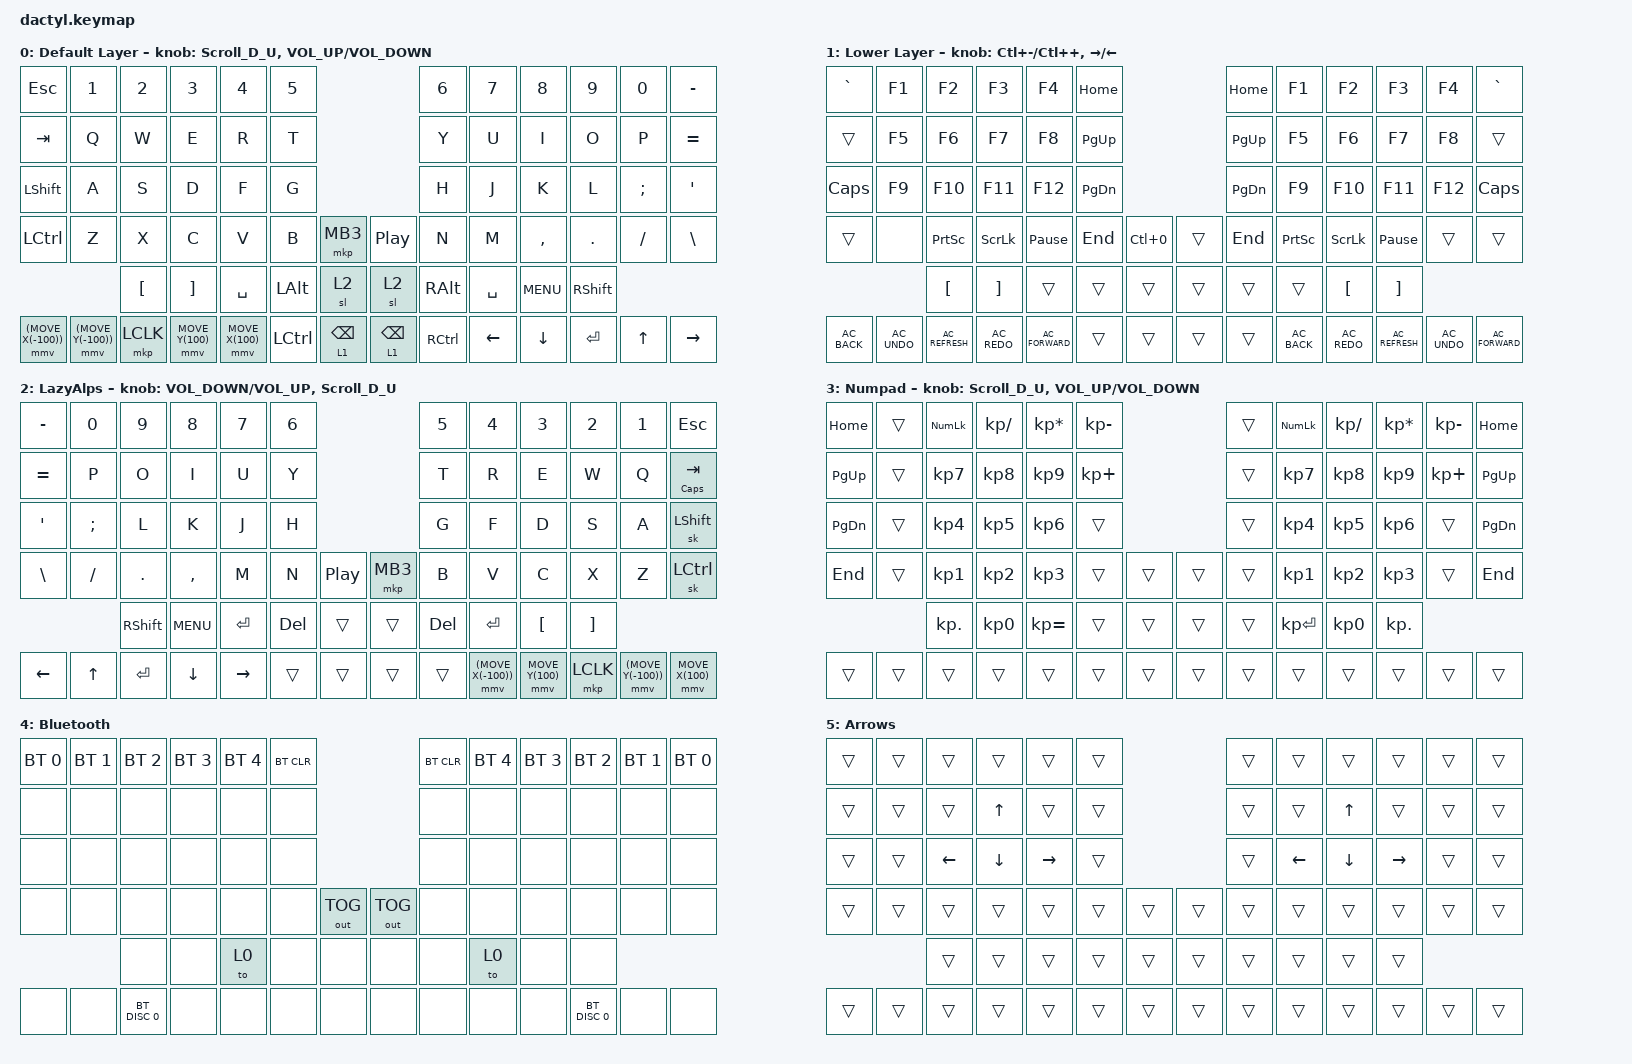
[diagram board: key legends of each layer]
/*
 * Copyright (c) 2020 The ZMK Contributors
 *
 * SPDX-License-Identifier: MIT
 */

#include <input/processors.dtsi>
#include <zephyr/dt-bindings/input/input-event-codes.h>
#include <dt-bindings/zmk/mouse.h>
#include <behaviors/mouse_keys.dtsi>
#include <behaviors.dtsi>
#include <dt-bindings/zmk/bt.h>
#include <dt-bindings/zmk/keys.h>
#include <dt-bindings/zmk/outputs.h>
#include <dt-bindings/zmk/pointing.h>

#define ZMK_POINTING_DEFAULT_MOVE_VAL 1200  // 600
#define ZMK_POINTING_DEFAULT_SCRL_VAL 900   // mousescroll SPEED

&mmv_input_listener { input-processors = <&zip_xy_scaler 2 1>; };

&msc_input_listener { input-processors = <&zip_scroll_scaler 2 1>; };

&msc {
    acceleration-exponent = <1>;      // 0
    time-to-max-speed-ms = <100>;       // 300
    delay-ms = <0>;                   // 0
};

&mmv {
    time-to-max-speed-ms = <500>;
    acceleration-exponent = <1>;
    trigger-period-ms = <16>;
};

&soft_off {
    hold-time-ms = <3000>; // Only turn off it the key is held for 3 seconds or longer.
};

&mt {
    tapping-term-ms = <300>;
    flavor = "tap-preferred";
};

&lt { tapping-term-ms = <300>; };

/ {
    behaviors {
        Scroll_D_U: Scroll_D_U {
            compatible = "zmk,behavior-sensor-rotate";
            label = "SCROLL_D_U";
            #sensor-binding-cells = <0>;
            bindings = <&msc SCRL_DOWN>, <&msc SCRL_UP>;

            tap-ms = <20>;
        };

        TD01: TD01 {
            compatible = "zmk,behavior-tap-dance";
            label = "TD01";
            #binding-cells = <0>;
            bindings = <&kp MINUS>, <&kp PERIOD>;
        };

        Scroll_U_D: Scroll_U_D {
            compatible = "zmk,behavior-sensor-rotate";
            label = "SCROLL_U_D";
            #sensor-binding-cells = <0>;
            bindings = <&msc SCRL_UP>, <&msc SCRL_DOWN>;

            tap-ms = <20>;
        };

        Scroll_LR: Scroll_LR {
            compatible = "zmk,behavior-sensor-rotate";
            label = "SCROLL_LR";
            #sensor-binding-cells = <0>;
            bindings = <&msc SCRL_LEFT>, <&msc SCRL_RIGHT>;

            tap-ms = <20>;
        };

        Scroll_RL: Scroll_RL {
            compatible = "zmk,behavior-sensor-rotate";
            label = "SCROLL_RL";
            #sensor-binding-cells = <0>;
            bindings = <&msc SCRL_RIGHT>, <&msc SCRL_LEFT>;

            tap-ms = <20>;
        };
    };

    combos {
        compatible = "zmk,combos";

        boot {
            bindings = <&bootloader>;
            key-positions = <33 32 30>;
        };

        boot2 {
            bindings = <&bootloader>;
            key-positions = <30 32 33>;
        };

        Numpad {
            bindings = <&tog 3>;
            key-positions = <54 66>;
        };

        LWin {
            bindings = <&kp LWIN>;
            key-positions = <50 51>;
        };

        RWin {
            bindings = <&kp RWIN>;
            key-positions = <58 59>;
        };

        PairBT {
            bindings = <&to 4>;
            key-positions = <53 65 54 66>;
        };

        MainBT {
            bindings = <&bt BT_SEL 0>;
            key-positions = <42 0>;
        };

        BT1 {
            bindings = <&bt BT_SEL 1>;
            key-positions = <42 1>;
        };

        BT2 {
            bindings = <&bt BT_SEL 2>;
            key-positions = <42 2>;
        };

        BT3 {
            bindings = <&bt BT_SEL 3>;
            key-positions = <42 3>;
        };

        BT4 {
            bindings = <&bt BT_SEL 4>;
            key-positions = <42 4>;
        };

        ClrAllBT {
            bindings = <&bt BT_CLR_ALL>;
            key-positions = <62 42>;
            layers = <4>;
        };

        Arrows {
            bindings = <&lt 5 LEFT_WIN>;
            key-positions = <65 66>;
            layers = <0>;
        };

        LStudio {
            bindings = <&studio_unlock>;
            key-positions = <50 51>;
            layers = <4>;
        };

        RStudio {
            bindings = <&studio_unlock>;
            key-positions = <58 59>;
            layers = <4>;
        };

        RArrows {
            bindings = <&lt 5 LEFT_WIN>;
            key-positions = <68 67>;
            layers = <0>;
        };

        RNumpad {
            bindings = <&tog 3>;
            key-positions = <55 67>;
        };

        RPairBT {
            bindings = <&to 4>;
            key-positions = <55 56 68 67>;
        };

        RMainBT {
            bindings = <&bt BT_SEL 0>;
            key-positions = <43 11>;
        };

        RBT1 {
            bindings = <&bt BT_SEL 1>;
            key-positions = <43 10>;
        };

        RBT2 {
            bindings = <&bt BT_SEL 2>;
            key-positions = <43 9>;
        };

        RBT3 {
            bindings = <&bt BT_SEL 3>;
            key-positions = <43 8>;
        };

        RBT4 {
            bindings = <&bt BT_SEL 4>;
            key-positions = <43 7>;
        };

        RClrAllBT {
            bindings = <&bt BT_CLR_ALL>;
            key-positions = <71 43>;
            layers = <4>;
        };
    };

    keymap {
        compatible = "zmk,keymap";

        SIXDOO {
            display-name = "Default Layer";
            bindings = <
&kp ESCAPE           &kp NUMBER_1         &kp NUMBER_2      &kp NUMBER_3       &kp NUMBER_4      &kp NUMBER_5                                         &kp NUMBER_6   &kp NUMBER_7  &kp NUMBER_8  &kp NUMBER_9     &kp NUMBER_0  &kp MINUS
&kp TAB              &kp Q                &kp W             &kp E              &kp R             &kp T                                                &kp Y          &kp U         &kp I         &kp O            &kp P         &kp EQUAL
&kp LEFT_SHIFT       &kp A                &kp S             &kp D              &kp F             &kp G                                                &kp H          &kp J         &kp K         &kp L            &kp SEMI      &kp SQT
&kp LCTRL            &kp Z                &kp X             &kp C              &kp V             &kp B             &mkp MB3         &kp C_PLAY_PAUSE  &kp N          &kp M         &kp COMMA     &kp DOT          &kp FSLH      &kp BSLH
                                          &kp LEFT_BRACKET  &kp RIGHT_BRACKET  &kp SPACE         &kp LALT          &sl 2            &sl 2             &kp RIGHT_ALT  &kp SPACE     &kp K_MENU    &kp RIGHT_SHIFT
&mmv (MOVE_X(-100))  &mmv (MOVE_Y(-100))  &mkp LCLK         &mmv MOVE_Y(100)   &mmv MOVE_X(100)  &kp LEFT_CONTROL  &lt 1 BACKSPACE  &lt 1 BACKSPACE   &kp RCTRL      &kp LEFT      &kp DOWN      &kp RET          &kp UP        &kp RIGHT
            >;

            sensor-bindings =
                <&Scroll_D_U>,
                <&inc_dec_kp C_VOLUME_UP C_VOLUME_DOWN>;

            label = "2THM8N";
        };

        Functions {
            display-name = "Lower Layer";
            bindings = <
&kp GRAVE      &kp F1         &kp F2            &kp F3             &kp F4            &kp HOME                           &kp HOME       &kp F1           &kp F2            &kp F3             &kp F4         &kp GRAVE
&trans         &kp F5         &kp F6            &kp F7             &kp F8            &kp PAGE_UP                        &kp PAGE_UP    &kp F5           &kp F6            &kp F7             &kp F8         &trans
&kp CAPSLOCK   &kp F9         &kp F10           &kp F11            &kp F12           &kp PAGE_DOWN                      &kp PAGE_DOWN  &kp F9           &kp F10           &kp F11            &kp F12        &kp CAPSLOCK
&trans         &none          &kp PRINTSCREEN   &kp SCROLLLOCK     &kp PAUSE_BREAK   &kp END        &kp LC(N0)  &trans  &kp END        &kp PRINTSCREEN  &kp SCROLLLOCK    &kp PAUSE_BREAK    &trans         &trans
                              &kp LEFT_BRACKET  &kp RIGHT_BRACKET  &trans            &trans         &trans      &trans  &trans         &trans           &kp LEFT_BRACKET  &kp RIGHT_BRACKET
&kp C_AC_BACK  &kp C_AC_UNDO  &kp C_AC_REFRESH  &kp C_AC_REDO      &kp C_AC_FORWARD  &trans         &trans      &trans  &trans         &kp C_AC_BACK    &kp C_AC_REDO     &kp C_AC_REFRESH   &kp C_AC_UNDO  &kp C_AC_FORWARD
            >;

            sensor-bindings =
                <&inc_dec_kp LC(MINUS) LC(PLUS)>,
                <&inc_dec_kp RIGHT LEFT>;

            label = "Func";
        };

        LazyAlps {
            display-name = "LazyAlps";
            bindings = <
&kp MINUS       &kp NUMBER_0  &kp NUMBER_9  &kp NUMBER_8    &kp NUMBER_7     &kp NUMBER_6                              &kp NUMBER_5  &kp NUMBER_4         &kp NUMBER_3      &kp NUMBER_2       &kp NUMBER_1         &kp ESCAPE
&kp EQUAL       &kp P         &kp O         &kp I           &kp U            &kp Y                                     &kp T         &kp R                &kp E             &kp W              &kp Q                &mt CAPSLOCK TAB
&kp APOS        &kp SEMI      &kp L         &kp K           &kp J            &kp H                                     &kp G         &kp F                &kp D             &kp S              &kp A                &sk LEFT_SHIFT
&kp BSLH        &kp FSLH      &kp DOT       &kp COMMA       &kp M            &kp N         &kp C_PLAY_PAUSE  &mkp MB3  &kp B         &kp V                &kp C             &kp X              &kp Z                &sk LCTRL
                              &kp RSHFT     &kp K_MENU      &kp ENTER        &kp DELETE    &trans            &trans    &kp DELETE    &kp ENTER            &kp LEFT_BRACKET  &kp RIGHT_BRACKET
&kp LEFT_ARROW  &kp UP_ARROW  &kp ENTER     &kp DOWN_ARROW  &kp RIGHT_ARROW  &trans        &trans            &trans    &trans        &mmv (MOVE_X(-100))  &mmv MOVE_Y(100)  &mkp LCLK          &mmv (MOVE_Y(-100))  &mmv MOVE_X(100)
            >;

            sensor-bindings =
                <&inc_dec_kp C_VOLUME_DOWN C_VOLUME_UP>,
                <&Scroll_D_U>;

            label = "LazyAlps";
        };

        Numpad {
            bindings = <
&kp HOME       &trans  &kp KP_NUMLOCK   &kp KP_SLASH     &kp KP_MULTIPLY  &kp KP_MINUS                  &trans  &kp KP_NUMLOCK   &kp KP_SLASH     &kp KP_ASTERISK  &kp KP_MINUS  &kp HOME
&kp PAGE_UP    &trans  &kp KP_NUMBER_7  &kp KP_NUMBER_8  &kp KP_NUMBER_9  &kp KP_PLUS                   &trans  &kp KP_NUMBER_7  &kp KP_NUMBER_8  &kp KP_NUMBER_9  &kp KP_PLUS   &kp PAGE_UP
&kp PAGE_DOWN  &trans  &kp KP_NUMBER_4  &kp KP_NUMBER_5  &kp KP_NUMBER_6  &trans                        &trans  &kp KP_NUMBER_4  &kp KP_NUMBER_5  &kp KP_NUMBER_6  &trans        &kp PAGE_DOWN
&kp END        &trans  &kp KP_NUMBER_1  &kp KP_NUMBER_2  &kp KP_NUMBER_3  &trans        &trans  &trans  &trans  &kp KP_NUMBER_1  &kp KP_NUMBER_2  &kp KP_NUMBER_3  &trans        &kp END
                       &kp KP_DOT       &kp KP_NUMBER_0  &kp KP_EQUAL     &trans        &trans  &trans  &trans  &kp KP_ENTER     &kp KP_NUMBER_0  &kp KP_DOT
&trans         &trans  &trans           &trans           &trans           &trans        &trans  &trans  &trans  &trans           &trans           &trans           &trans        &trans
            >;

            sensor-bindings =
                <&Scroll_D_U>,
                <&inc_dec_kp C_VOLUME_UP C_VOLUME_DOWN>;

            label = "Numpad";
        };

        Bluetooth {
            bindings = <
&bt BT_SEL 0  &bt BT_SEL 1  &bt BT_SEL 2   &bt BT_SEL 3  &bt BT_SEL 4  &bt BT_CLR                              &bt BT_CLR  &bt BT_SEL 4  &bt BT_SEL 3  &bt BT_SEL 2   &bt BT_SEL 1  &bt BT_SEL 0
&none         &none         &none          &none         &none         &none                                   &none       &none         &none         &none          &none         &none
&none         &none         &none          &none         &none         &none                                   &none       &none         &none         &none          &none         &none
&none         &none         &none          &none         &none         &none       &out OUT_TOG  &out OUT_TOG  &none       &none         &none         &none          &none         &none
                            &none          &none         &to 0         &none       &none         &none         &none       &to 0         &none         &none
&none         &none         &bt BT_DISC 0  &none         &none         &none       &none         &none         &none       &none         &none         &bt BT_DISC 0  &none         &none
            >;

            label = "Bluetooth";
        };

        Arrows {
            bindings = <
&trans  &trans  &trans    &trans          &trans           &trans                  &trans  &trans          &trans          &trans           &trans  &trans
&trans  &trans  &trans    &kp UP_ARROW    &trans           &trans                  &trans  &trans          &kp UP_ARROW    &trans           &trans  &trans
&trans  &trans  &kp LEFT  &kp DOWN_ARROW  &kp RIGHT_ARROW  &trans                  &trans  &kp LEFT_ARROW  &kp DOWN_ARROW  &kp RIGHT_ARROW  &trans  &trans
&trans  &trans  &trans    &trans          &trans           &trans  &trans  &trans  &trans  &trans          &trans          &trans           &trans  &trans
                &trans    &trans          &trans           &trans  &trans  &trans  &trans  &trans          &trans          &trans
&trans  &trans  &trans    &trans          &trans           &trans  &trans  &trans  &trans  &trans          &trans          &trans           &trans  &trans
            >;
        };
    };
};
